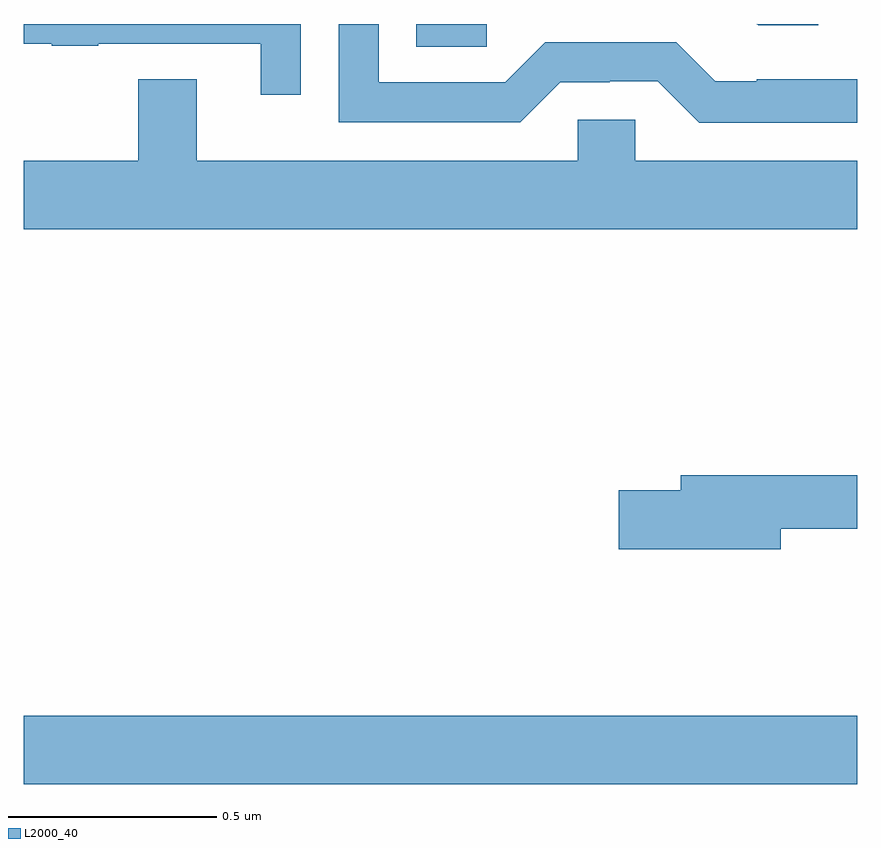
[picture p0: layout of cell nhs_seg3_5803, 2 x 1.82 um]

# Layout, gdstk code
import gdstk
lib = gdstk.Library(unit=1e-6, precision=1e-09)
def R(c, l, rs):  # rectangles x0, y0, x1, y1
    for r in rs: c.add(gdstk.rectangle(r[:2], r[2:], *l))
def P(c, l, *ps):  # polygons
    for p in ps: c.add(gdstk.Polygon(p, *l))
L2000_40 = (2000, 40)

nhs_seg3_5803 = lib.new_cell('nhs_seg3_5803')
R(nhs_seg3_5803, L2000_40, [(183,707.576,185,707.74), (183.942,709.345,184.111,709.4)])
P(nhs_seg3_5803, L2000_40, [(184.906,709.4),(184.759,709.4),(184.762,709.397),(184.906,709.397)],
  [(185,709.267),(184.759,709.267),(184.759,709.263),(184.659,709.263),(184.566,709.356),(184.251,709.356),(184.155,709.26),(183.852,709.26),(183.852,709.4),(183.756,709.4),(183.756,709.164),(184.191,709.164),(184.287,709.26),(184.406,709.26),(184.406,709.263),(184.521,709.263),(184.621,709.163),(185,709.163)],
  [(183.665,709.4),(183,709.4),(183,709.353),(183.067,709.353),(183.067,709.348),(183.179,709.348),(183.179,709.353),(183.569,709.353),(183.569,709.23),(183.665,709.23)],
  [(185,709.072),(184.467,709.072),(184.467,709.17),(184.329,709.17),(184.329,709.072),(183.415,709.072),(183.415,709.267),(183.275,709.267),(183.275,709.072),(183,709.072),(183,708.908),(185,708.908)],
  [(184.816,708.189),(185,708.189),(185,708.317),(184.577,708.317),(184.577,708.281),(184.428,708.281),(184.428,708.139),(184.816,708.139)])

lib.write_gds('nhs_seg3_5803.gds')
